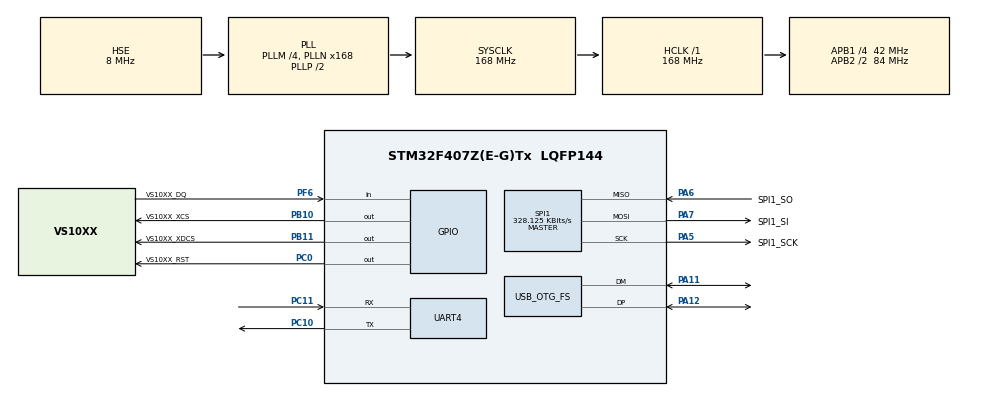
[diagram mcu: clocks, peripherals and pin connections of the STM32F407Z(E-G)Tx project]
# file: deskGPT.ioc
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Mcu.Family=STM32F4
Mcu.Name=STM32F407Z(E-G)Tx
Mcu.Package=LQFP144
NVIC.OTG_FS_IRQn=true\:0\:0\:false\:false\:true\:false\:true\:true
NVIC.PriorityGroup=NVIC_PRIORITYGROUP_4
PA11.Mode=Device_Only
PA11.Signal=USB_OTG_FS_DM
PA12.Mode=Device_Only
PA12.Signal=USB_OTG_FS_DP
PA13.Mode=Serial_Wire
PA13.Signal=SYS_JTMS-SWDIO
PA14.Mode=Serial_Wire
PA14.Signal=SYS_JTCK-SWCLK
PA5.GPIO_Label=SPI1_SCK
PA5.Mode=Full_Duplex_Master
PA5.Signal=SPI1_SCK
PA6.GPIO_Label=SPI1_SO
PA6.Mode=Full_Duplex_Master
PA6.Signal=SPI1_MISO
PA7.GPIO_Label=SPI1_SI
PA7.Mode=Full_Duplex_Master
PA7.Signal=SPI1_MOSI
PB10.GPIO_Label=VS10XX_XCS
PB10.Signal=GPIO_Output
PB11.GPIO_Label=VS10XX_XDCS
PB11.Signal=GPIO_Output
PB13.GPIO_Label=I2S2_CK
PB13.Signal=I2S2_CK
PC0.GPIO_Label=VS10XX_RST
PC0.Signal=GPIO_Output
PC10.Mode=Asynchronous
PC10.Signal=UART4_TX
PC11.Mode=Asynchronous
PC11.Signal=UART4_RX
PF6.GPIO_Label=VS10XX_DQ
PF6.Signal=GPIO_Input
PH0-OSC_IN.Mode=HSE-External-Oscillator
PH0-OSC_IN.Signal=RCC_OSC_IN
PH1-OSC_OUT.Mode=HSE-External-Oscillator
PH1-OSC_OUT.Signal=RCC_OSC_OUT
ProjectManager.HeapSize=0x400
ProjectManager.StackSize=0x2000
ProjectManager.TargetToolchain=MDK-ARM V5
RCC.48MHZClocksFreq_Value=48000000
RCC.AHBFreq_Value=168000000
RCC.APB1CLKDivider=RCC_HCLK_DIV4
RCC.APB1Freq_Value=42000000
RCC.APB1TimFreq_Value=84000000
RCC.APB2CLKDivider=RCC_HCLK_DIV2
RCC.APB2Freq_Value=84000000
RCC.APB2TimFreq_Value=168000000
RCC.CortexFreq_Value=168000000
RCC.HCLKFreq_Value=168000000
RCC.HSE_VALUE=8000000
RCC.HSI_VALUE=16000000
RCC.LSE_VALUE=32768
RCC.PLLI2SN=50
RCC.PLLM=4
RCC.PLLN=168
RCC.PLLQ=7
RCC.SYSCLKFreq_VALUE=168000000
RCC.SYSCLKSource=RCC_SYSCLKSOURCE_PLLCLK
RCC.VCOOutputFreq_Value=336000000
SPI1.BaudRatePrescaler=SPI_BAUDRATEPRESCALER_256
SPI1.CLKPhase=SPI_PHASE_2EDGE
SPI1.CLKPolarity=SPI_POLARITY_HIGH
SPI1.CalculateBaudRate=328.125 KBits/s
SPI1.Direction=SPI_DIRECTION_2LINES
SPI1.Mode=SPI_MODE_MASTER
SPI1.VirtualType=VM_MASTER
UART4.VirtualMode=Asynchronous
USB_DEVICE.CLASS_NAME_FS=CDC
USB_DEVICE.VirtualMode-CDC_FS=Cdc
USB_DEVICE.VirtualModeFS=Cdc_FS
USB_OTG_FS.VirtualMode=Device_Only
VP_USB_DEVICE_VS_USB_DEVICE_CDC_FS.Mode=CDC_FS
board=custom

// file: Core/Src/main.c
/* USER CODE BEGIN Header */
/**
 ******************************************************************************
 * @file           : main.c
 * @brief          : Main program body
 ******************************************************************************
 * @attention
 *
 * Copyright (c) 2023 STMicroelectronics.
 * All rights reserved.
 *
 * This software is licensed under terms that can be found in the LICENSE file
 * in the root directory of this software component.
 * If no LICENSE file comes with this software, it is provided AS-IS.
 *
 ******************************************************************************
 */
/* USER CODE END Header */
#include "main.h"
#include "spi.h"
#include "usart.h"
#include "usb_device.h"
#include "gpio.h"

/* USER CODE BEGIN Includes */
#include "atk_mo1053.h"
#include "delay.h"
#include <string.h>
#include "recorder.h"
#include "dataPackDecode.h"
#include "dataQueue.h"
#include "usbd_cdc_if.h"
/* USER CODE END Includes */

/* USER CODE BEGIN PV */
uint16_t send_buf[275]; //100
uint8_t recv_buf[DATA_SIZE];
uint8_t audio_buf[AUDIO_DATA_BUF_SIZE];
uint8_t flg = 0;
extern usb_datapack_decode_t pcDataPack;

uint8_t rec_state = PLAY_MODE;

/* USER CODE END PV */

void SystemClock_Config(void);

/* USER CODE BEGIN 0 */
uint8_t CDC_Transmit_One_Byte(uint16_t byte)
{
    static uint16_t cnt = 0;

    send_buf[cnt++] = byte;
    if (cnt == 275)
    {
        CDC_Transmit_FS((uint8_t *)send_buf, 550);
        cnt = 0;
    }
    // for(int i=0;i<100;i++)
    // {
    //     send_buf[i] = byte;
    // }
    // CDC_Transmit_FS((uint8_t *)send_buf, 200);
}

// void playSpeakerTest(void)
// {
//     HAL_DAC_Start(&hdac,DAC_CHANNEL_1);
//                 // for(int i=0;i<AUDIO_DATA_SIZE;i+=2)
//                 // {
//                 //     uint16_t audio_data = (uint16_t)audio_buf[i]<<8 | (uint16_t)audio_buf[i+1];
//                 //     HAL_DAC_SetValue(&hdac,DAC_CHANNEL_1,DAC_ALIGN_12B_R,audio_data);
//                 //     // HAL_Delay(1);
//                 // }
//     static uint16_t val = 0;
//     HAL_DAC_SetValue(&hdac,DAC_CHANNEL_1,DAC_ALIGN_12B_R,val);
//     val += 2;
//     if(val == 4096)
//     {
//         val = 0;
//     }
//     HAL_DAC_Stop(&hdac,DAC_CHANNEL_1);
// }

// void playSpeaker(uint32_t audio_data)
// {
//     HAL_DAC_Start(&hdac,DAC_CHANNEL_1);
//     HAL_DAC_SetValue(&hdac,DAC_CHANNEL_1,DAC_ALIGN_12B_R,audio_data);
//     HAL_DAC_Stop(&hdac,DAC_CHANNEL_1);
// }
/* USER CODE END 0 */

int main(void)
{

  /* MCU Configuration--------------------------------------------------------*/

  /* Reset of all peripherals, Initializes the Flash interface and the Systick. */
  HAL_Init();

  /* USER CODE BEGIN Init */
    dataPackInit(&pcDataPack);
    pcDataQueueInit();
    audioDataQueueInit();
  /* USER CODE END Init */

  /* Configure the system clock */
  SystemClock_Config();

  /* Initialize all configured peripherals */
  MX_GPIO_Init();
  MX_USB_DEVICE_Init();
  MX_SPI1_Init();
  MX_UART4_Init();

  /* Infinite loop */
  /* USER CODE BEGIN WHILE */
    atk_mo1053_init();
    atk_mo1053_reset();
    atk_mo1053_soft_reset();
    atk_mo1053_restart_play();
    uint16_t cnt = 0;
    uint16_t idx = 0;
    while (1)
    {
        HAL_UART_Transmit(&huart4, &rec_state, 1, 100);
    /* USER CODE END WHILE */

    /* USER CODE BEGIN 3 */

        /* get audio data from spi and send to usb */
        if (pcDataPack.record_enable && !pcDataPack.play_enable)    //录音
        {
            if(rec_state != RECORD_MODE)
            {
                atk_mo1053_reset();
                atk_mo1053_soft_reset();
                recoder_enter_rec_mode(0);
				atk_mo1053_set_volume(0x00);
                rec_state = RECORD_MODE;
                delay_ms(10);
            }
            if (atk_mo1053_read_reg(SPI_HDAT1))
            {
                uint16_t data = atk_mo1053_read_reg(SPI_HDAT0);
                cnt++;
                // send_buf[idx++] = cnt;
                send_buf[idx++] = data;
                // send_buf[idx++] = 0;
                if (idx == 100)
                {
                    CDC_Transmit_FS((uint8_t *)send_buf, 200);
                    idx = 0;
                }
            }
        }
        else if (!pcDataPack.record_enable && pcDataPack.play_enable)   //播放
        {
            if(rec_state != PLAY_MODE)
            {
                atk_mo1053_reset();
                atk_mo1053_soft_reset();
                atk_mo1053_restart_play();
                atk_mo1053_set_all();
                atk_mo1053_reset_decode_time();
                atk_mo1053_spi_speed_high();
                atk_mo1053_write_cmd(SPI_AICTRL0,8000);	//设置采样�?,设置�?16Khz
                atk_mo1053_write_cmd(SPI_CLOCKF,0X2000);	//设置VS10XX的时�?,MULT:2倍频;ADD:不允�?;CLK:12.288Mhz
                rec_state = PLAY_MODE;
                delay_ms(10);
            }

            getAudioData(audio_buf, recv_buf, &pcDataPack);
            for(int i=0;i<AUDIO_DATA_BUF_SIZE;i+=AUDIO_DATA_SIZE)
            {
                uint16_t timeout_cnt = 0;
                //防止发�?�失败，导致程序卡死
                while(atk_mo1053_send_music_data(audio_buf+i))
                {
                    timeout_cnt++;
                    if(timeout_cnt > 10000)
                    {
                        break;
                    }
                }
            }
        }
        else    //停止
        {
            if(rec_state != STOP_MODE)
            {
                atk_mo1053_reset();
                atk_mo1053_set_volume(0x00);
                rec_state = STOP_MODE;
            }
        }

        /* get pc data from usb */
        if (!pcDataQueueIsEmpty())
        {
            pcDataQueuePop(recv_buf, DATA_SIZE);

            if (checkDataHead(recv_buf, &pcDataPack))
            {
                checkSpiCtrl(recv_buf, &pcDataPack);
            }
        }
    }
  /* USER CODE END 3 */
}

void SystemClock_Config(void)
{
  RCC_OscInitTypeDef RCC_OscInitStruct = {0};
  RCC_ClkInitTypeDef RCC_ClkInitStruct = {0};

  /** Configure the main internal regulator output voltage
  */
  __HAL_RCC_PWR_CLK_ENABLE();
  __HAL_PWR_VOLTAGESCALING_CONFIG(PWR_REGULATOR_VOLTAGE_SCALE1);

  /** Initializes the RCC Oscillators according to the specified parameters
  * in the RCC_OscInitTypeDef structure.
  */
  RCC_OscInitStruct.OscillatorType = RCC_OSCILLATORTYPE_HSE;
  RCC_OscInitStruct.HSEState = RCC_HSE_ON;
  RCC_OscInitStruct.PLL.PLLState = RCC_PLL_ON;
  RCC_OscInitStruct.PLL.PLLSource = RCC_PLLSOURCE_HSE;
  RCC_OscInitStruct.PLL.PLLM = 4;
  RCC_OscInitStruct.PLL.PLLN = 168;
  RCC_OscInitStruct.PLL.PLLP = RCC_PLLP_DIV2;
  RCC_OscInitStruct.PLL.PLLQ = 7;
  if (HAL_RCC_OscConfig(&RCC_OscInitStruct) != HAL_OK)
  {
    Error_Handler();
  }

  /** Initializes the CPU, AHB and APB buses clocks
  */
  RCC_ClkInitStruct.ClockType = RCC_CLOCKTYPE_HCLK|RCC_CLOCKTYPE_SYSCLK
                              |RCC_CLOCKTYPE_PCLK1|RCC_CLOCKTYPE_PCLK2;
  RCC_ClkInitStruct.SYSCLKSource = RCC_SYSCLKSOURCE_PLLCLK;
  RCC_ClkInitStruct.AHBCLKDivider = RCC_SYSCLK_DIV1;
  RCC_ClkInitStruct.APB1CLKDivider = RCC_HCLK_DIV4;
  RCC_ClkInitStruct.APB2CLKDivider = RCC_HCLK_DIV2;

  if (HAL_RCC_ClockConfig(&RCC_ClkInitStruct, FLASH_LATENCY_5) != HAL_OK)
  {
    Error_Handler();
  }
}

void Error_Handler(void)
{
    __disable_irq();
    while (1)
    {
    }
}
